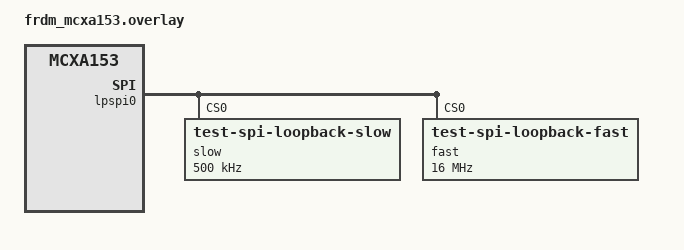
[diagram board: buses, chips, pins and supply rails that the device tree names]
/*
 * Copyright 2026 NXP
 *
 * SPDX-License-Identifier: Apache-2.0
 */

tst_dma0: &edma0 {};

&lpspi0 {
	slow@0 {
		compatible = "test-spi-loopback-slow";
		reg = <0>;
		spi-max-frequency = <500000>;
	};
	fast@0 {
		compatible = "test-spi-loopback-fast";
		reg = <0>;
		spi-max-frequency = <16000000>;
	};
};
